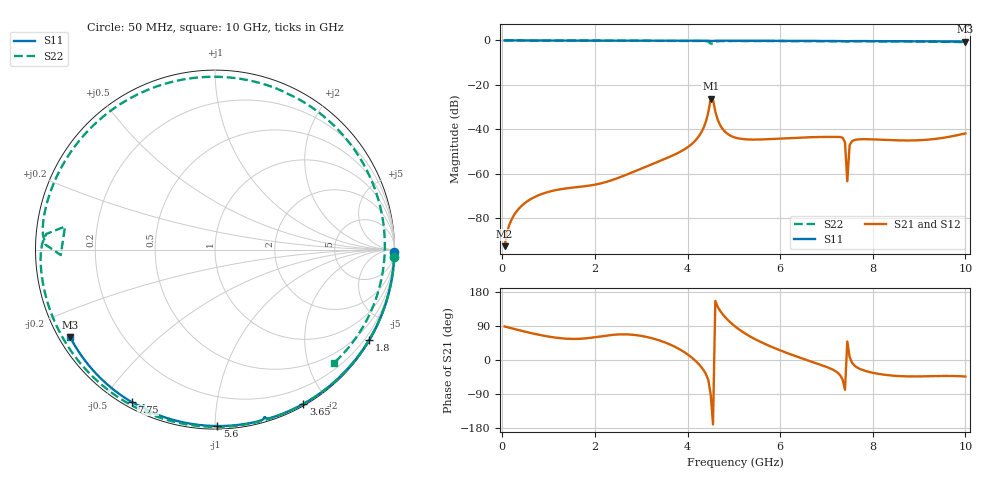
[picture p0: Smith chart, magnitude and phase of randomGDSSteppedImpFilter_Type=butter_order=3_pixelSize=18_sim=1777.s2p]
! freq	dB(S11)	phase(S11)	dB(S12)	phase(S12)
!  dB(S21)	phase(S21)	dB(S22)	phase(S22)
!S-par simulation data
#  GHz  S  DB  R 50
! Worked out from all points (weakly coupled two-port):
!   200 points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, 50 MHz to 10 GHz, reference 50 ohm
!   highest |S21| = -26.24 dB at 4.5 GHz (marker M1); lowest = -92.6 dB at 50 MHz (marker M2)
!   lowest |S11| = -0.5 dB at 10 GHz (marker M3), VSWR 34.14, Z = 1.58 - j13.9 ohm
!   |S11| at or under -10 dB: nowhere
!   |S22| runs from -1.5 to 0.0 dB; largest |S21 - S12| = 0
!   S11 on the Smith chart (normalised r, x): 50 MHz: open; 1.8 GHz: 0.03, -3.67; 3.65 GHz: 0.02, -1.72; 5.6 GHz: 0.02, -1.01; 7.75 GHz: 0.02, -0.59; 10 GHz: 0.03, -0.28
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0.05  -0.00 -0.9  -92.64 88.4  -92.64 88.4  -0.00 -2.4
0.8  -0.02 -13.7  -69.55 66.3  -69.55 66.3  -0.05 -37.1
1.75  -0.04 -29.7  -65.72 56.6  -65.72 56.6  -0.10 -78.7
1.8  -0.04 -30.5  -65.59 57.2  -65.59 57.2  -0.10 -80.8
3.4  -0.08 -56.3  -54.30 51.3  -54.30 51.3  -0.16 -143.1
3.65  -0.08 -60.3  -52.07 39.4  -52.07 39.4  -0.18 -152.4
4.25  -0.10 -69.6  -42.98 -11.9  -42.98 -11.9  -0.23 -175.0
4.4  -0.11 -72.0  -36.31 -37.7  -36.31 -37.7  -0.32 178.1
4.5  -0.23 -73.8  -26.24 -91.1  -26.24 -91.1  -1.46 171.3
4.55  -0.22 -73.4  -26.58 -170.0  -26.58 -170.0  -1.31 -178.0
4.75  -0.12 -76.7  -39.65 122.1  -39.65 122.1  -0.26 170.2
5.05  -0.13 -81.2  -43.85 86.4  -43.85 86.4  -0.25 158.4
5.6  -0.15 -89.2  -44.57 46.5  -44.57 46.5  -0.27 137.8
6.7  -0.21 -104.7  -43.54 -5.3  -43.54 -5.3  -0.32 95.3
7.35  -0.29 -114.0  -43.80 -52.1  -43.80 -52.1  -0.35 69.1
7.4  -0.37 -114.7  -45.88 -78.7  -45.88 -78.7  -0.36 67.0
7.45  -0.41 -114.5  -63.42 48.9  -63.42 48.9  -0.37 65.0
7.5  -0.32 -115.0  -47.16 8.0  -47.16 8.0  -0.37 63.0
7.75  -0.28 -118.7  -44.47 -25.0  -44.47 -25.0  -0.37 52.7
8.35  -0.33 -126.8  -44.84 -40.3  -44.84 -40.3  -0.41 27.7
9.2  -0.41 -138.1  -44.66 -42.9  -44.66 -42.9  -0.52 -8.2
10  -0.51 -148.8  -41.87 -43.6  -41.87 -43.6  -0.77 -43.7
